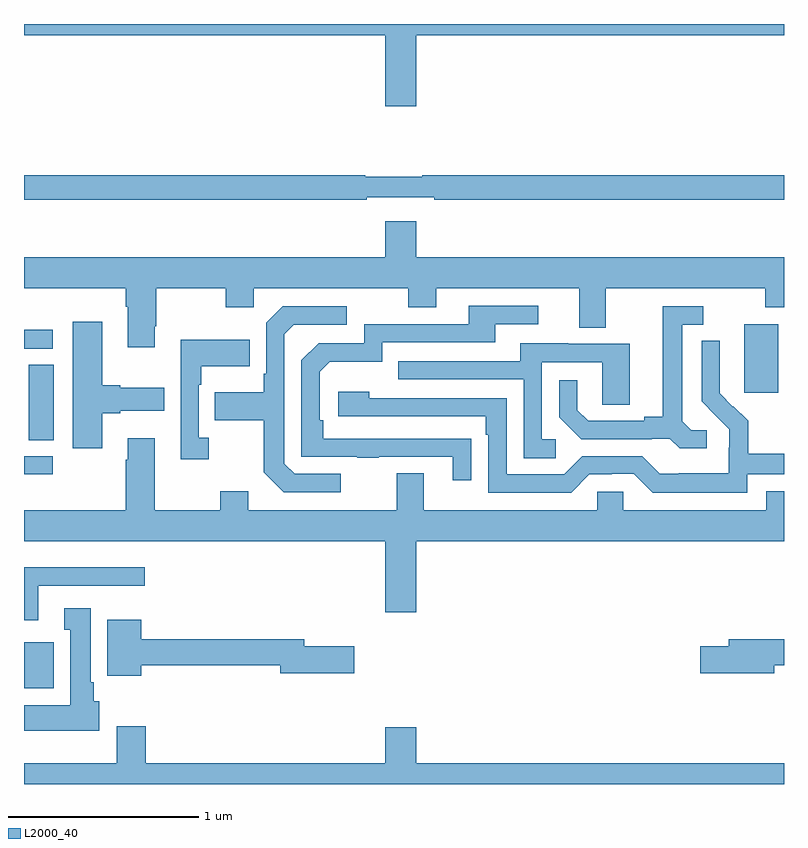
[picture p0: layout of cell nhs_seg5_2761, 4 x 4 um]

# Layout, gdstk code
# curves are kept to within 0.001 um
import gdstk
lib = gdstk.Library(unit=1e-6, precision=1e-09)
def R(c, l, rs):  # rectangles x0, y0, x1, y1
    for r in rs: c.add(gdstk.rectangle(r[:2], r[2:], *l))
def P(c, l, *ps):  # polygons
    for p in ps: c.add(gdstk.Polygon(p, *l))
L2000_40 = (2000, 40)

nhs_seg5_2761 = lib.new_cell('nhs_seg5_2761')
R(nhs_seg5_2761, L2000_40, [(271,873.302,271.156,873.544), (271,874.428,271.15,874.524), (271.025,874.609,271.156,875.006), (274.79,874.857,274.969,875.218), (271,875.091,271.15,875.19)])
P(nhs_seg5_2761, L2000_40, [(273.064,876.74),(275,876.74),(275,876.799),(271,876.799),(271,876.74),(272.9,876.74),(272.9,876.366),(273.064,876.366)],
  [(272.804,875.886),(273.16,875.886),(273.16,875.874),(275,875.874),(275,876.002),(273.095,876.002),(273.095,875.995),(272.795,875.995),(272.795,876.002),(271,876.002),(271,875.874),(272.804,875.874)],
  [(271.687,875.209),(271.695,875.209),(271.695,875.408),(272.062,875.408),(272.062,875.309),(272.208,875.309),(272.208,875.408),(273.022,875.408),(273.022,875.309),(273.169,875.309),(273.169,875.408),(273.923,875.408),(273.923,875.2),(274.063,875.2),(274.063,875.408),(274.9,875.408),(274.9,875.309),(275,875.309),(275,875.572),(273.064,875.572),(273.064,875.761),(272.9,875.761),(272.9,875.572),(271,875.572),(271,875.408),(271.535,875.408),(271.535,875.312),(271.547,875.312),(271.547,875.097),(271.687,875.097)],
  [(273.353,874.616),(272.576,874.617),(272.576,874.714),(272.556,874.714),(272.556,874.968),(272.609,875.021),(272.886,875.021),(272.886,875.124),(273.481,875.124),(273.481,875.22),(273.706,875.22),(273.706,875.316),(273.341,875.316),(273.341,875.22),(272.79,875.22),(272.79,875.118),(272.55,875.118),(272.46,875.028),(272.46,874.521),(272.755,874.521),(272.755,874.516),(272.867,874.516),(272.867,874.521),(273.257,874.521),(273.257,874.398),(273.353,874.398)],
  [(272.668,874.431),(272.424,874.431),(272.37,874.485),(272.37,875.166),(272.421,875.217),(272.698,875.217),(272.698,875.313),(272.361,875.313),(272.274,875.226),(272.274,874.957),(272.262,874.957),(272.262,874.861),(272.005,874.861),(272.005,874.714),(272.262,874.714),(272.262,874.441),(272.367,874.335),(272.668,874.335)],
  [(274.594,874.662),(274.512,874.662),(274.465,874.709),(274.465,875.217),(274.576,875.217),(274.576,875.313),(274.361,875.313),(274.361,874.733),(274.265,874.733),(274.265,874.71),(273.97,874.71),(273.913,874.767),(273.913,874.924),(273.816,874.924),(273.816,874.73),(273.932,874.614),(274.304,874.614),(274.304,874.617),(274.398,874.617),(274.45,874.565),(274.594,874.565)],
  [(271.411,874.751),(271.507,874.751),(271.507,874.763),(271.738,874.763),(271.738,874.885),(271.507,874.885),(271.507,874.898),(271.411,874.898),(271.411,875.233),(271.256,875.233),(271.256,874.566),(271.411,874.566)],
  [(271.972,874.622),(271.92,874.622),(271.92,874.901),(271.933,874.901),(271.933,874.997),(272.189,874.997),(272.189,875.137),(271.824,875.137),(271.824,874.509),(271.972,874.509)],
  [(274.806,874.428),(275,874.428),(275,874.537),(274.811,874.537),(274.811,874.711),(274.734,874.788),(274.731,874.785),(274.661,874.856),(274.662,875.132),(274.566,875.132),(274.566,874.814),(274.712,874.666),(274.712,874.569),(274.71,874.569),(274.71,874.435),(274.447,874.435),(274.447,874.431),(274.347,874.431),(274.254,874.524),(273.939,874.524),(273.843,874.428),(273.54,874.428),(273.54,874.83),(272.816,874.83),(272.816,874.864),(272.655,874.864),(272.655,874.734),(273.431,874.734),(273.431,874.637),(273.444,874.637),(273.444,874.332),(273.879,874.332),(273.975,874.428),(274.094,874.428),(274.094,874.431),(274.209,874.431),(274.309,874.331),(274.806,874.331)],
  [(273.799,874.614),(273.726,874.614),(273.726,875.019),(274.044,875.019),(274.044,874.795),(274.189,874.795),(274.189,875.115),(273.865,875.115),(273.865,875.119),(273.611,875.119),(273.611,875.025),(272.971,875.025),(272.971,874.929),(273.63,874.929),(273.63,874.513),(273.799,874.513)],
  [(275,874.339),(274.907,874.339),(274.907,874.24),(274.155,874.24),(274.155,874.338),(274.017,874.338),(274.017,874.24),(273.103,874.24),(273.103,874.435),(272.963,874.435),(272.963,874.24),(272.179,874.24),(272.179,874.339),(272.032,874.339),(272.032,874.24),(271.687,874.24),(271.687,874.618),(271.547,874.618),(271.547,874.505),(271.535,874.505),(271.535,874.24),(271,874.24),(271,874.076),(272.9,874.076),(272.9,873.702),(273.064,873.702),(273.064,874.076),(275,874.076)],
  [(271.075,873.843),(271.636,873.843),(271.636,873.94),(271,873.94),(271,873.662),(271.075,873.662)],
  [(271.396,873.234),(271.366,873.234),(271.366,873.334),(271.351,873.334),(271.351,873.724),(271.211,873.724),(271.211,873.611),(271.244,873.611),(271.244,873.214),(271,873.214),(271,873.08),(271.396,873.08)],
  [(271.618,873.424),(272.348,873.424),(272.348,873.382),(272.737,873.382),(272.737,873.524),(272.476,873.524),(272.476,873.56),(271.618,873.56),(271.618,873.664),(271.439,873.664),(271.439,873.368),(271.618,873.368)],
  [(274.948,873.424),(275,873.424),(275,873.56),(274.709,873.56),(274.709,873.524),(274.56,873.524),(274.56,873.382),(274.948,873.382)],
  [(275,872.908),(273.064,872.908),(273.064,873.097),(272.9,873.097),(272.9,872.908),(271.64,872.908),(271.64,873.103),(271.487,873.103),(271.487,872.908),(271,872.908),(271,872.799),(275,872.799)])

lib.write_gds('nhs_seg5_2761.gds')
